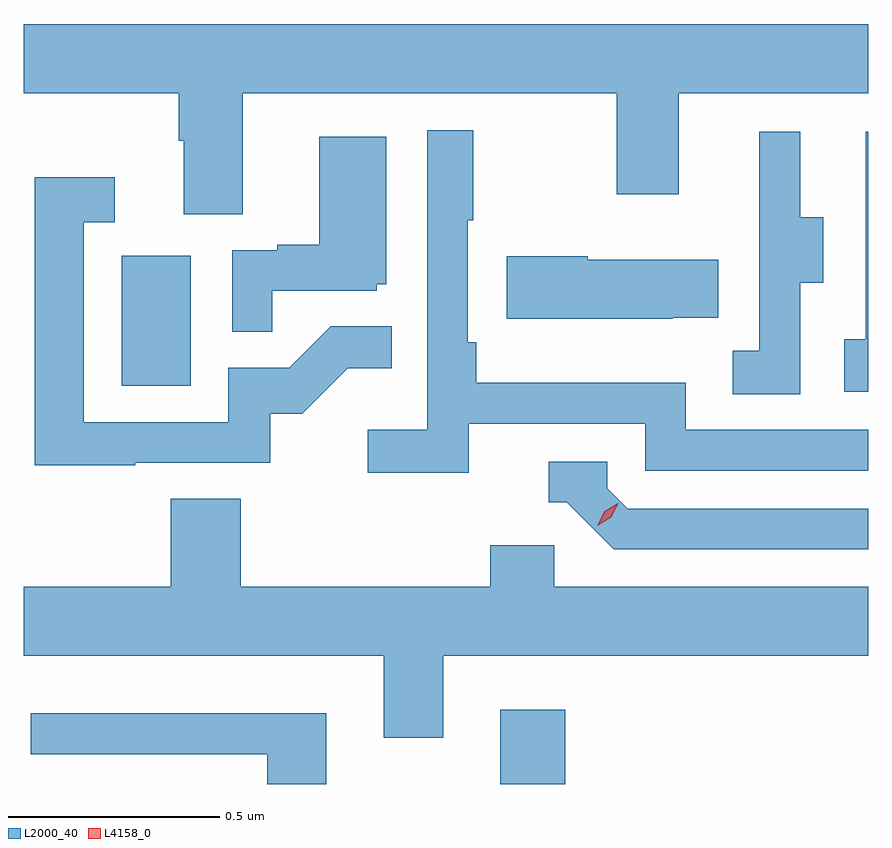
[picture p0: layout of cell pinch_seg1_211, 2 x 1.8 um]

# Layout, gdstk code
import gdstk
lib = gdstk.Library(unit=1e-6, precision=1e-09)
def R(c, l, rs):  # rectangles x0, y0, x1, y1
    for r in rs: c.add(gdstk.rectangle(r[:2], r[2:], *l))
def P(c, l, *ps):  # polygons
    for p in ps: c.add(gdstk.Polygon(p, *l))
L2000_40 = (2000, 40)
L4158_0 = (4158, 0)

pinch_seg1_211 = lib.new_cell('pinch_seg1_211')
R(pinch_seg1_211, L2000_40, [(988.505,572.741,988.658,572.917), (987.608,573.684,987.772,573.991)])
P(pinch_seg1_211, L2000_40, [(987.895,574.376),(988.78,574.376),(988.78,574.137),(988.927,574.137),(988.927,574.376),(989.376,574.376),(989.376,574.54),(987.376,574.54),(987.376,574.376),(987.743,574.376),(987.743,574.264),(987.755,574.264),(987.755,574.09),(987.895,574.09)],
  [(988.43,573.594),(988.848,573.594),(988.848,573.483),(989.376,573.483),(989.376,573.579),(988.944,573.579),(988.944,573.691),(988.448,573.691),(988.448,573.787),(988.428,573.787),(988.428,574.075),(988.441,574.075),(988.441,574.288),(988.332,574.288),(988.332,573.58),(988.191,573.58),(988.191,573.478),(988.43,573.478)],
  [(989.376,574.285),(989.37,574.285),(989.37,573.794),(989.319,573.794),(989.319,573.669),(989.376,573.669)],
  [(989.214,573.928),(989.269,573.928),(989.269,574.083),(989.215,574.083),(989.215,574.285),(989.117,574.285),(989.117,574.071),(989.118,574.071),(989.118,573.767),(989.055,573.767),(989.055,573.664),(989.214,573.664)],
  [(987.965,573.909),(988.212,573.909),(988.212,573.924),(988.234,573.924),(988.234,574.273),(988.076,574.273),(988.076,574.018),(987.977,574.018),(987.977,574.005),(987.87,574.005),(987.87,573.811),(987.965,573.811)],
  [(987.641,573.501),(987.96,573.501),(987.96,573.618),(988.036,573.618),(988.143,573.725),(988.247,573.725),(988.247,573.824),(988.103,573.824),(988.005,573.726),(987.861,573.726),(987.861,573.597),(987.519,573.597),(987.519,574.071),(987.592,574.071),(987.592,574.177),(987.403,574.177),(987.403,573.496),(987.641,573.496)],
  [(988.913,573.845),(989.021,573.845),(989.021,573.982),(988.711,573.982),(988.711,573.99),(988.52,573.99),(988.52,573.842),(988.913,573.842)],
  [(989.376,573.393),(988.806,573.393),(988.758,573.441),(988.758,573.504),(988.619,573.504),(988.619,573.408),(988.662,573.408),(988.773,573.297),(989.376,573.297)],
  [(988.369,573.044),(989.376,573.044),(989.376,573.208),(988.632,573.208),(988.632,573.306),(988.481,573.306),(988.481,573.208),(987.89,573.208),(987.89,573.416),(987.725,573.416),(987.725,573.208),(987.376,573.208),(987.376,573.044),(988.229,573.044),(988.229,572.85),(988.369,572.85)],
  [(988.093,572.908),(987.393,572.908),(987.393,572.811),(987.953,572.811),(987.953,572.741),(988.093,572.741)])
P(pinch_seg1_211, L4158_0, [(988.735,573.354),(988.735,573.355),(988.752,573.387),(988.783,573.406),(988.784,573.406),(988.784,573.406),(988.767,573.373),(988.736,573.354)])

lib.write_gds('pinch_seg1_211.gds')
